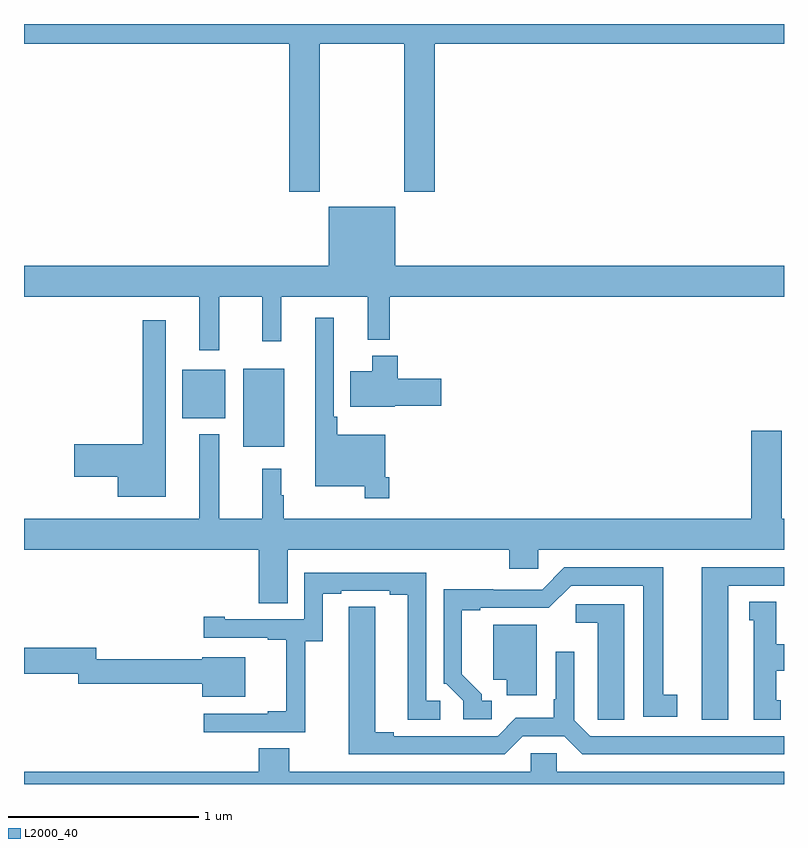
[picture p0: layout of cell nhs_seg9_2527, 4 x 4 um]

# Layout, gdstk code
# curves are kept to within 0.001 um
import gdstk
lib = gdstk.Library(unit=1e-6, precision=1e-09)
def R(c, l, rs):  # rectangles x0, y0, x1, y1
    for r in rs: c.add(gdstk.rectangle(r[:2], r[2:], *l))
def P(c, l, *ps):  # polygons
    for p in ps: c.add(gdstk.Polygon(p, *l))
L2000_40 = (2000, 40)

nhs_seg9_2527 = lib.new_cell('nhs_seg9_2527')
R(nhs_seg9_2527, L2000_40, [(256.154,1218.275,256.369,1218.685), (255.833,1218.425,256.06,1218.679)])
P(nhs_seg9_2527, L2000_40, [(256.557,1220.396),(257.002,1220.396),(257.002,1219.617),(257.162,1219.617),(257.162,1220.396),(259,1220.396),(259,1220.5),(255,1220.5),(255,1220.396),(256.397,1220.396),(256.397,1219.617),(256.557,1219.617)],
  [(256.027,1219.064),(256.255,1219.064),(256.255,1218.831),(256.355,1218.831),(256.355,1219.064),(256.808,1219.064),(256.808,1218.839),(256.925,1218.839),(256.925,1219.064),(259,1219.064),(259,1219.228),(256.954,1219.228),(256.954,1219.537),(256.604,1219.537),(256.604,1219.228),(255,1219.228),(255,1219.064),(255.923,1219.064),(255.923,1218.783),(256.027,1218.783)],
  [(256.922,1218.115),(256.902,1218.115),(256.902,1218.337),(256.649,1218.337),(256.649,1218.433),(256.629,1218.433),(256.629,1218.955),(256.532,1218.955),(256.532,1218.068),(256.794,1218.068),(256.794,1218.003),(256.922,1218.003)],
  [(255.745,1218.94),(255.624,1218.94),(255.624,1218.287),(255.264,1218.287),(255.264,1218.116),(255.494,1218.116),(255.494,1218.011),(255.745,1218.011)],
  [(256.95,1218.491),(257.197,1218.491),(257.197,1218.633),(256.967,1218.633),(256.967,1218.754),(256.832,1218.754),(256.832,1218.673),(256.718,1218.673),(256.718,1218.485),(256.95,1218.485)],
  [(256.387,1217.732),(257.555,1217.732),(257.555,1217.634),(257.706,1217.634),(257.706,1217.732),(259,1217.732),(259,1217.896),(258.987,1217.896),(258.987,1218.358),(258.827,1218.358),(258.827,1217.896),(256.366,1217.896),(256.366,1218.02),(256.354,1218.02),(256.354,1218.16),(256.255,1218.16),(256.255,1217.896),(256.027,1217.896),(256.027,1218.34),(255.923,1218.34),(255.923,1217.896),(255,1217.896),(255,1217.732),(256.235,1217.732),(256.235,1217.452),(256.387,1217.452)],
  [(258.706,1217.544),(259,1217.544),(259,1217.64),(258.566,1217.64),(258.566,1216.839),(258.706,1216.839)],
  [(257.461,1216.938),(257.41,1216.938),(257.41,1216.973),(257.305,1217.078),(257.305,1217.415),(257.401,1217.415),(257.401,1217.427),(257.763,1217.427),(257.88,1217.544),(258.26,1217.544),(258.26,1216.854),(258.439,1216.854),(258.439,1216.97),(258.364,1216.97),(258.364,1217.64),(257.844,1217.64),(257.727,1217.523),(257.471,1217.523),(257.471,1217.525),(257.208,1217.525),(257.208,1217.028),(257.223,1217.028),(257.313,1216.938),(257.313,1216.842),(257.461,1216.842)],
  [(256.479,1217.251),(256.573,1217.251),(256.573,1217.502),(256.669,1217.502),(256.669,1217.517),(256.925,1217.517),(256.925,1217.497),(257.021,1217.497),(257.021,1216.837),(257.191,1216.837),(257.191,1216.938),(257.118,1216.938),(257.118,1217.613),(256.476,1217.613),(256.476,1217.367),(256.057,1217.367),(256.057,1217.38),(255.945,1217.38),(255.945,1217.271),(256.283,1217.271),(256.283,1217.259),(256.379,1217.259),(256.379,1216.882),(256.283,1216.882),(256.283,1216.869),(255.945,1216.869),(255.945,1216.773),(256.479,1216.773)],
  [(258.982,1216.941),(258.958,1216.941),(258.958,1217.096),(259,1217.096),(259,1217.236),(258.958,1217.236),(258.958,1217.459),(258.818,1217.459),(258.818,1217.361),(258.842,1217.361),(258.842,1216.839),(258.982,1216.839)],
  [(258.16,1217.445),(257.904,1217.445),(257.904,1217.348),(258.02,1217.348),(258.02,1216.945),(258.021,1216.945),(258.021,1216.837),(258.16,1216.837)],
  [(257.625,1216.752),(257.843,1216.752),(257.939,1216.656),(259,1216.656),(259,1216.752),(257.979,1216.752),(257.895,1216.836),(257.895,1217.197),(257.799,1217.197),(257.799,1216.945),(257.787,1216.945),(257.787,1216.848),(257.589,1216.848),(257.493,1216.752),(256.945,1216.752),(256.945,1216.772),(256.849,1216.772),(256.849,1217.432),(256.71,1217.432),(256.709,1216.656),(257.529,1216.656)],
  [(257.698,1217.338),(257.471,1217.338),(257.471,1217.048),(257.54,1217.048),(257.54,1216.968),(257.698,1216.968)],
  [(256.165,1217.167),(255.938,1217.167),(255.938,1217.156),(255.381,1217.156),(255.381,1217.216),(255,1217.216),(255,1217.08),(255.285,1217.08),(255.285,1217.028),(255.938,1217.028),(255.938,1216.958),(256.165,1216.958)],
  [(259,1216.564),(257.805,1216.564),(257.805,1216.662),(257.667,1216.662),(257.667,1216.564),(256.395,1216.564),(256.395,1216.688),(256.235,1216.688),(256.235,1216.564),(255,1216.564),(255,1216.5),(259,1216.5)])

lib.write_gds('nhs_seg9_2527.gds')
